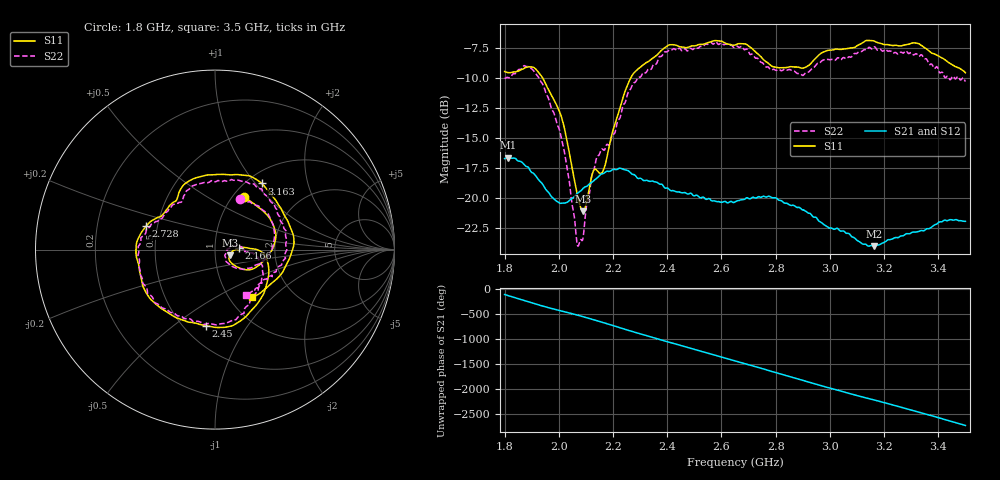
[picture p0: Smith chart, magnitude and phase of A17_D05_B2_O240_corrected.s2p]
! Created with skrf 1.9.0 (http://scikit-rf.org).
# Hz S RI R 50.0
!freq ReS11 ImS11 ReS21 ImS21 ReS12 ImS12 ReS22 ImS22
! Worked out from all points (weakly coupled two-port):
!   1601 points, 1.8 GHz to 3.5 GHz, reference 50 ohm
!   highest |S21| = -16.65 dB at 1.812 GHz (marker M1); lowest = -24.1 dB at 3.162 GHz (marker M2)
!   lowest |S11| = -21.1 dB at 2.09 GHz (marker M3), VSWR 1.19, Z = 58.8 - j3.8 ohm
!   |S11| at or under -10 dB: 1.941 GHz to 2.265 GHz (324.4 MHz wide, 15.4 % of centre)
!   |S22| runs from -24.1 to -7.0 dB; largest |S21 - S12| = 0.0027
!   S11 on the Smith chart (normalised r, x): 1.8 GHz: 1.13, +0.75; 2.166 GHz: 1.30, +0.02; 2.45 GHz: 0.64, -0.66; 2.728 GHz: 0.43, +0.14; 3.163 GHz: 1.17, +1.08; 3.5 GHz: 1.26, -0.75
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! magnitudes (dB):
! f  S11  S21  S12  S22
! 1.8 GHz  -9.5  -16.7  -16.7  -10.0
! 1.812 GHz  -9.5  -16.7  -16.7  -9.9
! 1.881 GHz  -9.1  -17.4  -17.4  -9.0
! 1.942 GHz  -10.1  -19.0  -19.0  -10.6
! 2.011 GHz  -13.4  -20.5  -20.5  -15.3
! 2.067 GHz  -19.6  -19.7  -19.7  -23.7
! 2.084 GHz  -21.0  -19.4  -19.3  -23.5
! 2.09 GHz  -21.1  -19.2  -19.3  -23.3
! 2.128 GHz  -17.7  -18.6  -18.6  -17.7
! 2.166 GHz  -17.6  -18.0  -17.9  -16.0
! 2.261 GHz  -10.2  -17.8  -17.9  -11.0
! 2.367 GHz  -8.0  -18.8  -18.8  -8.4
! 2.45 GHz  -7.4  -19.6  -19.6  -7.6
! 2.65 GHz  -7.2  -20.4  -20.3  -7.4
! 2.728 GHz  -7.8  -20.0  -20.1  -8.3
! 2.805 GHz  -9.1  -20.1  -20.1  -9.3
! 2.934 GHz  -8.7  -21.5  -21.5  -9.2
! 3.162 GHz  -6.9  -24.1  -24.0  -7.4
! 3.163 GHz  -6.9  -24.1  -24.0  -7.4
! 3.217 GHz  -7.2  -23.5  -23.5  -7.8
! 3.325 GHz  -7.1  -22.8  -22.8  -8.1
! 3.5 GHz  -9.6  -22.0  -22.0  -10.3
